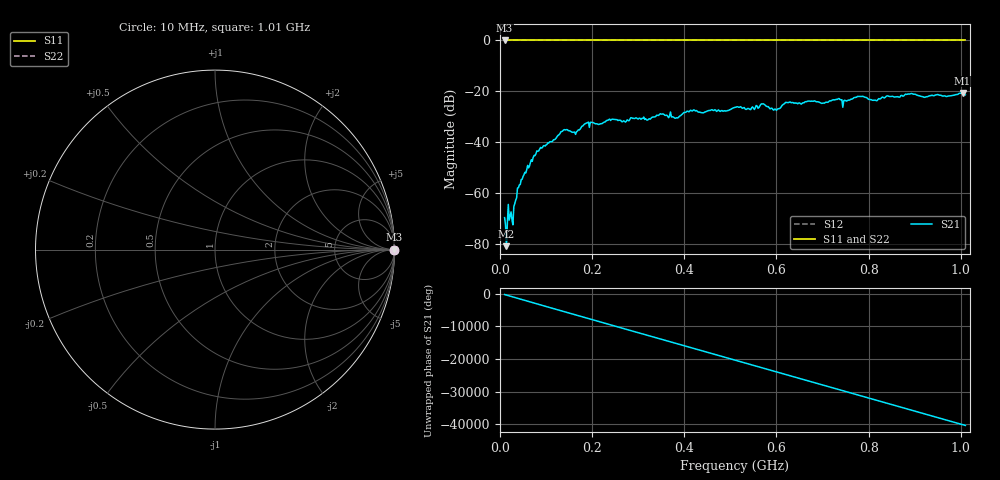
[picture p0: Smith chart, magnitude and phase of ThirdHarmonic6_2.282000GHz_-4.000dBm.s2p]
! 8/17/2025 2:57:52 AM
! C:\ANRITSUVNA\TEMP\TEMP.S2P
! CHANNEL.1
! TR.MEASUREMENT
! RAW.DATA
! RF.CORRECTION.OFF
! AVERAGING.OFF
! IF.BANDWIDTH: 5KHZ
! SWEEPTYPE:  FREQ.SWEEP(Linear)
! Reference Plane Port Info
! PORT:  PORT1  PORT2
! DISTANCE:  0  m  0  m
! TIME:  0  s  0  s
! PHASE.OFFSET:  0  deg.  0  deg.
! LOSS:  0  dB  0  dB
! REF.LOSS:  0  dB  0  dB
! REF.FREQ:  0  Hz  0  Hz
! Power Info
! POWER:  -20  dBm  -20  dBm
! EFF.POWER:  -20  dBm  -20  dBm
! SOURCE.ATTEN:  0  dB  0  dB
! TEST.ATTEN:  0  dB  0  dB
# GHZ S RI R 50.0
! FREQ.GHZ  S11RE  S11IM  S21RE  S21IM  S12RE  S12IM  S22RE  S22IM
!; PortSelection: Port_12
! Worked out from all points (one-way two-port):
!   501 points, 10 MHz to 1.01 GHz, reference 50 ohm
!   highest |S21| = -20.67 dB at 1.004 GHz (marker M1); lowest = -80.8 dB at 14 MHz (marker M2)
!   lowest |S11| = 0.0 dB at 10 MHz (marker M3)
!   |S11| at or under -10 dB: nowhere
!   |S22| runs from 0.0 to 0.0 dB; largest |S21 - S12| = 1.1
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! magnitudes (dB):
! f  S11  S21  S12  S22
! 10 MHz  0.0  -69.6  0.0  0.0
! 14 MHz  0.0  -80.8  0.0  0.0
! 18 MHz  0.0  -64.4  0.0  0.0
! 20 MHz  0.0  -70.6  0.0  0.0
! 24 MHz  0.0  -67.4  0.0  0.0
! 30 MHz  0.0  -65.3  0.0  0.0
! 42 MHz  0.0  -56.7  0.0  0.0
! 78 MHz  0.0  -44.5  0.0  0.0
! 136 MHz  0.0  -35.6  0.0  0.0
! 162 MHz  0.0  -36.0  0.0  0.0
! 178 MHz  0.0  -33.7  0.0  0.0
! 344 MHz  0.0  -29.5  0.0  0.0
! 382 MHz  0.0  -30.4  0.0  0.0
! 416 MHz  0.0  -27.7  0.0  0.0
! 510 MHz  0.0  -26.3  0.0  0.0
! 570 MHz  0.0  -24.9  0.0  0.0
! 598 MHz  0.0  -27.0  0.0  0.0
! 624 MHz  0.0  -24.4  0.0  0.0
! 678 MHz  0.0  -23.9  0.0  0.0
! 844 MHz  0.0  -21.9  0.0  0.0
! 1.004 GHz  0.0  -20.7  0.0  0.0
! 1.01 GHz  0.0  -21.4  0.0  0.0
